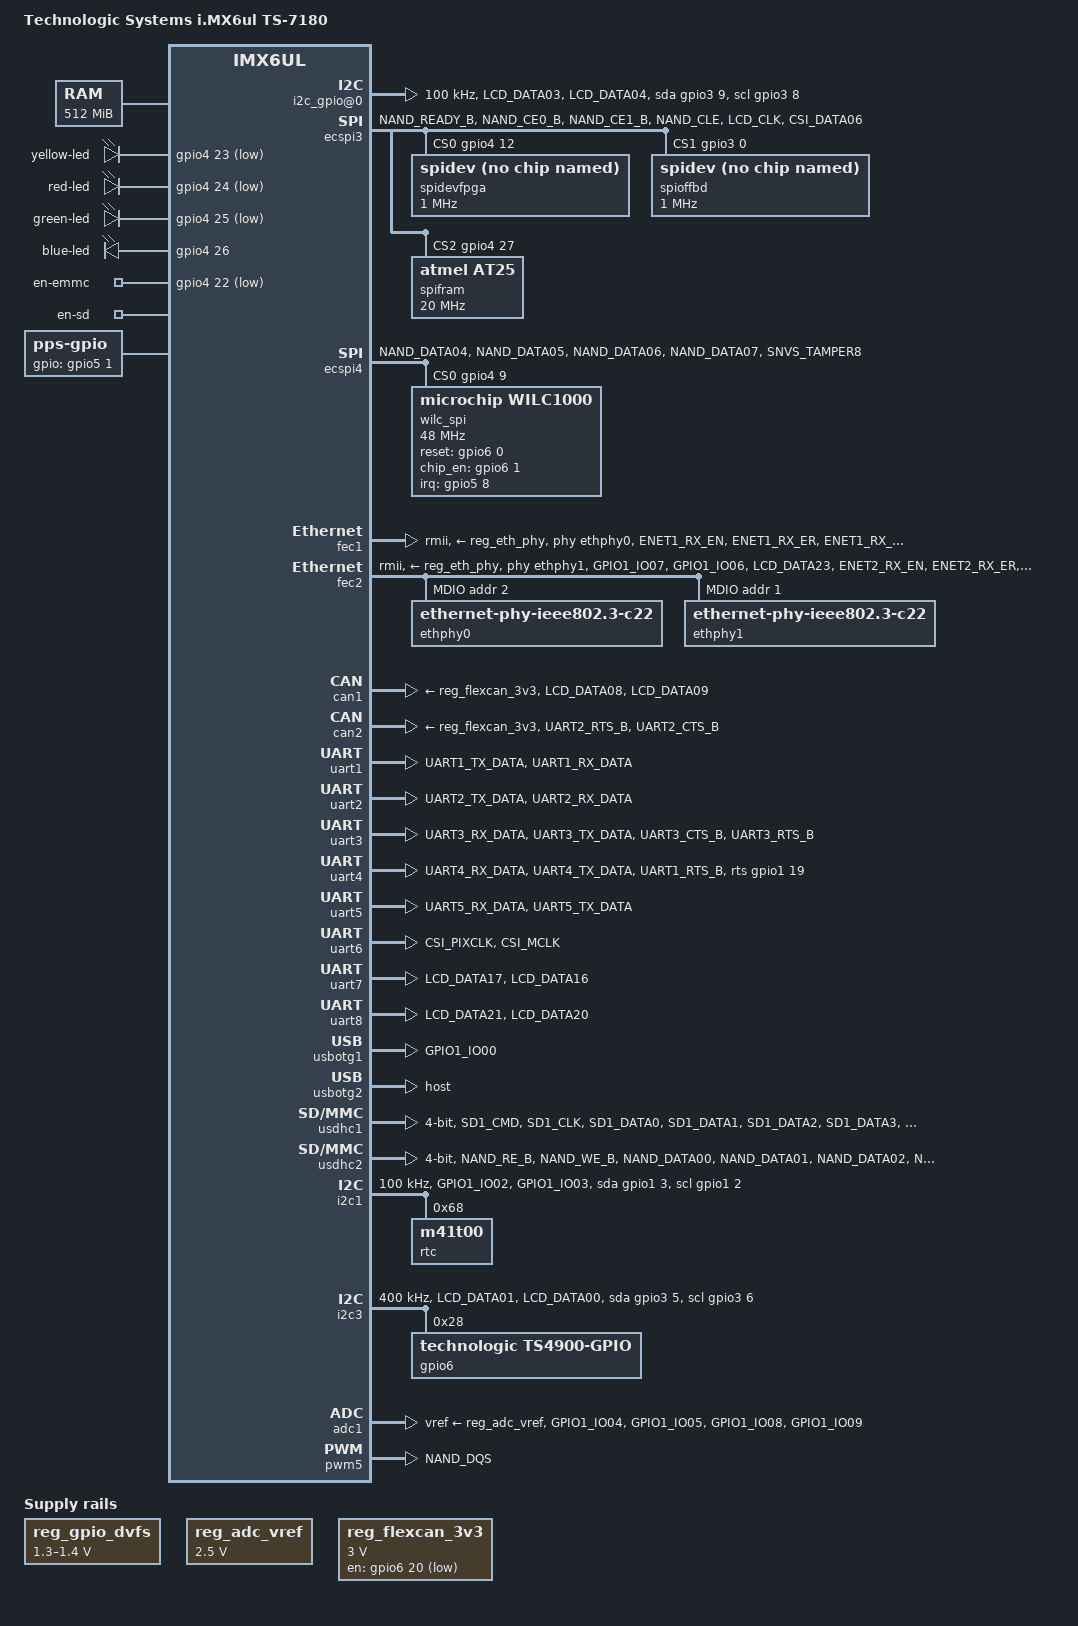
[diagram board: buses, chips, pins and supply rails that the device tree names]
/*
 * Copyright (C) 2021 Technologic Systems
 *
 * This program is free software; you can redistribute it and/or modify
 * it under the terms of the GNU General Public License version 2 as
 * published by the Free Software Foundation.
 *
 */

/dts-v1/;
#include <dt-bindings/input/input.h>
#include "imx6ul.dtsi"

/ {
	model = "Technologic Systems i.MX6ul TS-7180";
	compatible = "technologic,ts7180", "fsl,imx6ul";

	chosen {
		stdout-path = &uart1;
	};

	memory {
		reg = <0x80000000 0x20000000>;
	};

	leds {
		pinctrl-names = "default";
		compatible = "gpio-leds";

		yellow-led {
			label = "yellow-led";
			gpios = <&gpio4 23 GPIO_ACTIVE_LOW>;
			default-state = "off";
		};

		red-led {
			label = "red-led";
			gpios = <&gpio4 24 GPIO_ACTIVE_LOW>;
			default-state = "off";
		};

		green-led {
			label = "green-led";
			gpios = <&gpio4 25 GPIO_ACTIVE_LOW>;
			default-state = "on";
		};

		blue-led {
			label = "blue-led";
			gpios = <&gpio4 26 GPIO_ACTIVE_HIGH>;
			default-state = "off";
		};

		/* The following are meant to be userspace controlled IO. The
		 * kernel does not allow setting default state of GPIO, but
		 * the default state of LEDs can be set, which is why the LED
		 * subsystem is used.
		 * Additionally, Linux regulators often cannot be manually
		 * controlled, making LED the ideal way to control certain pins
		 */
		 en-emmc {
			label = "en-emmc";
			gpios = <&gpio4 22 GPIO_ACTIVE_LOW>;
			default-state = "on";
		};

		 en-sd {
			label = "en-sd";
			gpio = <&gpio6 14 GPIO_ACTIVE_HIGH>;
			default-state = "on";
		};
	};

	reserved-memory {
		#address-cells = <1>;
		#size-cells = <1>;
		ranges;

		linux,cma {
			compatible = "shared-dma-pool";
			reusable;
			size = <0x14000000>;
			linux,cma-default;
		};
	};

	aliases {
		ethernet0 = &fec2;
		ethernet1 = &fec1;
	};

	pxp_v4l2 {
		compatible = "fsl,imx6ul-pxp-v4l2", "fsl,imx6sx-pxp-v4l2", "fsl,imx6sl-pxp-v4l2";
		status = "disabled";
	};

	regulators {
		compatible = "simple-bus";
		#address-cells = <1>;
		#size-cells = <0>;

		reg_gpio_dvfs: regulator-gpio {
			compatible = "regulator-gpio";
			pinctrl-names = "default";
			pinctrl-0 = <&pinctrl_dvfs>;
			regulator-min-microvolt = <1300000>;
			regulator-max-microvolt = <1400000>;
			regulator-name = "gpio_dvfs";
			regulator-type = "voltage";
			gpios = <&gpio5 3 GPIO_ACTIVE_HIGH>;
			states = <1300000 0x1 1400000 0x0>;
		};

		reg_adc_vref: adc_vref {
			compatible = "regulator-fixed";
			regulator-name = "ADC_VREF";
			regulator-min-microvolt = <2500000>;
			regulator-max-microvolt = <2500000>;
			//gpio = EN_2.5_VREF driven by Silabs;
			//enable-active-high;
		};

		reg_flexcan_3v3: en-can@0 {
			compatible = "regulator-fixed";
			regulator-name = "en-can";
			regulator-min-microvolt = <3000000>;
			regulator-max-microvolt = <3000000>;
			gpio = <&gpio6 20 GPIO_ACTIVE_HIGH>;
		};

		reg_eth_phy: eth_phy {
			compatible = "regulator-dummy";
			regulator-name = "eth_phy_dummy";
		};
	};

        i2c_gpio@0 {
	        compatible = "i2c-gpio";
	        clock-frequency = <100000>;
	        pinctrl-names = "default";
	        pinctrl-0 = <&pinctrl_i2c_gpio>;
		gpios = <
			&gpio3 9 GPIO_ACTIVE_HIGH /* I2C_DAT on HD12 pin 1 */
			&gpio3 8 GPIO_ACTIVE_HIGH /* I2C_CLK on HD12 pin 6 */
			>;
	        status = "okay";
		i2c-gpio,delay-us = <2>;	/* ~100 kHz */
	        #address-cells = <1>;
	        #size-cells = <0>;
        };

	pps {
		compatible = "pps-gpio";
		pinctrl-names = "default";
		pinctrl-0 = <&pinctrl_ppsgpio>;
		gpios = <&gpio5 1 GPIO_ACTIVE_HIGH>;

		status = "okay";
	};
};

&cpu0 {
	arm-supply = <&reg_arm>;
	soc-supply = <&reg_soc>;
	dc-supply = <&reg_gpio_dvfs>;
};

&ecspi3 {
	fsl,spi-num-chipselects = <3>;
	cs-gpios = <&gpio4 12 GPIO_ACTIVE_HIGH>, <&gpio3 0 GPIO_ACTIVE_HIGH>, <&gpio4 27 GPIO_ACTIVE_HIGH>;
	pinctrl-names = "default";
	pinctrl-0 = <&pinctrl_ecspi3>;
	status = "okay";

	spidevfpga: spi@0 {
		compatible = "spidev";
		reg = <0>;
		spi-max-frequency = <1000000>;
	};

	spioffbd: spi@1 {
		compatible = "spidev";
		reg = <1>;
		spi-cs-high;
		spi-max-frequency = <1000000>;
	};

	/* This is actually the FRAM, which is compatible with the AT25 SPI EEPROM */
	spifram: spi@2 {
		compatible = "atmel,at25", "cypress,fm25l16b";
		reg = <2>;
		spi-max-frequency = <20000000>;
		size = <0x800>;
		address-width = <16>;
		pagesize = <64>;
		status = "okay";
	};
};

&ecspi4 {
	fsl,spi-num-chipselects = <1>;
	cs-gpios = <&gpio4 9 0>;
	pinctrl-names = "default";
	pinctrl-0 = <&pinctrl_ecspi4>;
	status = "okay";

	wilc_spi@0 {
		compatible = "microchip,wilc1000", "microchip,wilc3000";
		reg = <0>;
		spi-max-frequency = <48000000>;
		reset-gpios = <&gpio6 0 0>;     /* RESET,  GPIO 160 */
		chip_en-gpios = <&gpio6 1 0>;   /* ENABLE, GPIO 161 */
		interrupt-parent = <&gpio5>;    /* IRQ,    GPIO 136 */
		interrupts = <8 0>;
		status = "okay";
	 };
};

&fec1 {
	pinctrl-names = "default";
	pinctrl-0 = <&pinctrl_enet1>;
	phy-mode = "rmii";
	phy-handle = <&ethphy0>;
	phy-supply = <&reg_eth_phy>;
	status = "okay";
};

&fec2 {
	pinctrl-names = "default";
	pinctrl-0 = <&pinctrl_enet2>;
	phy-mode = "rmii";
	phy-handle = <&ethphy1>;
	phy-supply = <&reg_eth_phy>;
	status = "okay";

	mdio {
		#address-cells = <1>;
		#size-cells = <0>;

		ethphy0: ethernet-phy@2 {
			clocks = <&clks IMX6UL_CLK_ENET_REF>;
			clock-names = "rmii-ref";
			compatible = "ethernet-phy-ieee802.3-c22";
			reg = <2>;
		};

		ethphy1: ethernet-phy@1 {
			clocks = <&clks IMX6UL_CLK_ENET_REF>;
			clock-names = "rmii-ref";
			compatible = "ethernet-phy-ieee802.3-c22";
			reg = <1>;
		};
	};
};

&can1 {
	pinctrl-names = "default";
	pinctrl-0 = <&pinctrl_flexcan1>;
	xceiver-supply = <&reg_flexcan_3v3>;
	status = "okay";
};

&can2 {
	pinctrl-names = "default";
	pinctrl-0 = <&pinctrl_flexcan2>;
	xceiver-supply = <&reg_flexcan_3v3>;
	status = "okay";
};

&gpc {
	fsl,cpu_pupscr_sw2iso = <0x1>;
	fsl,cpu_pupscr_sw = <0x0>;
	fsl,cpu_pdnscr_iso2sw = <0x1>;
	fsl,cpu_pdnscr_iso = <0x1>;
	fsl,ldo-bypass = <0>; /* DCDC, ldo-enable */
};

&gpio1 {
	gpio-line-names =
		"BOOT_MODE_0",
		"",
		"I2C_1_CLK",
		"I2C_1_DAT",
		"ADC_1",
		"ADC_2",
		"ETH_MDIO",
		"ETH_MDC",
		"ADC_3",
		"ADC_4",
		"",
		"",
		"",
		"",
		"",
		"",
		"CONSOLE_TXD",
		"CONSOLE_RXD",
		"SPARE_1",
		"EN_485",
		"UART2_TXD",
		"UART2_RXD",
		"CAN_2_TXD",
		"CAN2_RXD_3V",
		"UART3_TXD",
		"UART3_RXD",
		"UART3_CTS#",
		"UART3_RTS#",
		"UART4_TXD",
		"UART4_RXD",
		"UART5_TXD",
		"UART5_RXD";
};

&gpio2 {
	gpio-line-names =
		"ENET1_RX_DATA0",
		"ENET1_RX_DATA1",
		"ENET1_RX_EN",
		"ENET1_TX_DATA0",
		"ENET1_TX_DATA1",
		"ENET1_TX_EN",
		"ENET1_TX_CLK",
		"ENET1_RX_ER",
		"ENET2_RX_DATA0",
		"ENET2_RX_DATA1",
		"ENET2_RX_EN",
		"ENET2_TX_DATA0",
		"ENET2_TX_DATA1",
		"ENET2_TX_EN",
		"ENET2_TX_CLK",
		"ENET2_RX_ER",
		"SD_CMD",
		"SD_CLK",
		"SD_D0",
		"SD_D1",
		"SD_D2",
		"SD_D3",
		"",
		"",
		"",
		"",
		"",
		"",
		"",
		"",
		"",
		"";
};

&gpio3 {
	gpio-line-names =
		"HD12_SPI_CS",
		"JTAG_FPGA_TCK",
		"JTAG_FPGA_TMS",
		"JTAG_FPGA_TDI",
		"WDOG#",
		"I2C_3_DAT",
		"I2C_3_CLK",
		"",
		"HD12_I2C_CLK",
		"HD12_I2C_DAT",
		"HD12_DIG_INPUT",
		"NO_CHRG_JMP#",
		"EN_NIM_USB#",
		"CAN_1_TXD",
		"CAN1_RXD_3V",
		"XBEE_CTS#",
		"U_BOOT_JMP#",
		"",
		"PUSH_SW_CPU#",
		"NIMBEL_PWR_ON",
		"",
		"UART7_TXD",
		"UART7_RXD",
		"ID4",
		"JTAG_FPGA_TDO",
		"UART8_TXD",
		"UART8_RXD",
		"ID1",
		"ETH_PHY_RESET#",
		"",
		"",
		"";
};

&gpio4 {
	gpio-line-names =
		"EMMC_CLK",
		"EMMC_CMD",
		"EMMC_D0",
		"EMMC_D1",
		"EMMC_D2",
		"EMMC_D3",
		"SPI_4_CLK",
		"SPI_4_MOSI",
		"SPI_4_MISO",
		"SPI_4_CS#",
		"MAG_N_IRQ",
		"FPGA_RESET#",
		"SPI_3_FPGA_CS#",
		"SPI_3_CLK",
		"SPI_3_MOSI",
		"SPI_3_MISO",
		"PWM_5",
		"UART6_TXD",
		"UART6_RXD",
		"ID5",
		"GYRO_INT",
		"6UL_FORCE_5V_ON",
		"EN_EMMC_3.3V#",
		"EN_YEL_LED#",
		"EN_RED_LED#",
		"EN_GRN_LED#",
		"EN_BLU_LED",
		"FRAM_SPI_CS#",
		"SD_VSEL_1.8V",
		"",
		"",
		"";
};

&gpio5 {
	gpio-line-names =
		"POWER_FAIL",
		"GPS_PPS_OUT",
		"",
		"GPIO_DVFS",
		"",
		"SILAB_C2_CLK",
		"SILAB_C2_DATA",
		"SILAB_C2_RESET",
		"SPARE_4",
		"",
		"",
		"",
		"",
		"",
		"",
		"",
		"",
		"",
		"",
		"",
		"",
		"",
		"",
		"",
		"",
		"",
		"",
		"",
		"",
		"",
		"",
		"";
};

&uart1 {
	pinctrl-names = "default";
	pinctrl-0 = <&pinctrl_uart1>;
	status = "okay";
};

&uart2 {
	pinctrl-names = "default";
	pinctrl-0 = <&pinctrl_uart2>;
	status = "okay";
};

&uart3 {
	pinctrl-names = "default";
	pinctrl-0 = <&pinctrl_uart3>;
	status = "okay";
	uart-has-rtscts;
};

&uart4 {
	pinctrl-names = "default";
	pinctrl-0 = <&pinctrl_uart4>;
	status = "okay";
	uart-has-rtscts;
	rts-gpios = <&gpio1 19 GPIO_ACTIVE_HIGH>; /* EN_485 is the TX enable signal */
	linux,rs485-enabled-at-boot-time;
};

&uart5 {
	pinctrl-names = "default";
	pinctrl-0 = <&pinctrl_uart5>;
	status = "okay";
};


&uart6 {
	pinctrl-names = "default";
	pinctrl-0 = <&pinctrl_uart6>;
	status = "okay";
};

&uart7 {
	pinctrl-names = "default";
	pinctrl-0 = <&pinctrl_uart7>;
	status = "okay";
};

&uart8 {
	pinctrl-names = "default";
	pinctrl-0 = <&pinctrl_uart8>;
	status = "okay";
};

&usbotg1 {
	pinctrl-names = "default";
	pinctrl-0 = <&pinctrl_usb_otg1_id>;
	srp-disable;
	hnp-disable;
	adp-disable;
	status = "okay";
};

&usbotg2 {
	dr_mode = "host";
	disable-over-current;
	status = "okay";
};

&usdhc1 {
	pinctrl-names = "default", "state_100mhz", "state_200mhz";
	pinctrl-0 = <&pinctrl_usdhc1>;
	pinctrl-1 = <&pinctrl_usdhc1_100mhz>;
	pinctrl-2 = <&pinctrl_usdhc1_200mhz>;
	max-frequency = <208000000>;
	keep-power-in-suspend;
	enable-sdio-wakeup;
	disable-wp;
	cap-sd-highspeed;
	sd-uhs-sdr12;
	sd-uhs-sdr25;
	sd-uhs-sdr50;
	sd-uhs-sdr104;
	sd-uhs-ddr50;
	broken-cd = <1>;
	bus-width = <4>;
	status = "okay";
};

&usdhc2 {
	pinctrl-names = "default";
	pinctrl-0 = <&pinctrl_usdhc2>;
	no-1-8-v;
	disable-wp;
	broken-cd = <1>;
	enable-sdio-wakeup;
	bus-width = <4>;
	status = "okay";
};

&i2c1 {
	clock-frequency = <100000>;
	pinctrl-names = "default", "gpio";
	pinctrl-0 = <&pinctrl_i2c1>;
	pinctrl-1 = <&pinctrl_i2c1_gpio>;
	status = "okay";
	scl-gpios = <&gpio1 2 GPIO_ACTIVE_HIGH>;
	sda-gpios = <&gpio1 3 GPIO_ACTIVE_HIGH>;

	rtc: m41t00s@68 {
		compatible = "m41t00";
		reg = <0x68>;
	};
};

&i2c3 {
	clock-frequency = <400000>;
	pinctrl-names = "default", "gpio";
	pinctrl-0 = <&pinctrl_i2c3>;
	pinctrl-1 = <&pinctrl_i2c3_gpio>;
	status = "okay";
	scl-gpios = <&gpio3 6 GPIO_ACTIVE_HIGH>;
	sda-gpios = <&gpio3 5 GPIO_ACTIVE_HIGH>;

	gpio6: gpio@28 {
		compatible = "technologic,ts4900-gpio";
		reg = <0x28>;
		#gpio-cells = <2>;
		gpio-controller;
		base = <160>;
		ngpios = <64>;

		gpio-line-names =
			/* Outputs 0-31 */
			"WIFI_RESET#",
			"EN_WIFI_PWR",
			"",
			"",
			"",
			"FRAM_WP#",
			"EN_CL_1",
			"EN_CL_2",
			"EN_CL_3",
			"EN_CL_4",
			"EN_ADC1_10V",
			"EN_ADC2_10V",
			"EN_ADC3_10V",
			"EN_ADC4_10V",
			"EN_SD_POWER",
			"EN_USB_HOST_5V",
			"EN_OFF_BD_5V",
			"EN_CELL_MODEM_PWR",
			"EN_NIMBEL_3.3V",
			"EN_GPS_PWR#",
			"EN_CAN_XVR#",
			"EN_232_XVR",
			"EN_LS_OUT_1",
			"EN_LS_OUT_2",
			"EN_LS_OUT_3",
			"EN_LS_OUT_4",
			"EN_LS_OUT_5",
			"EN_LS_OUT_6",
			"EN_LS_OUT_7",
			"",
			"",
			"",
			/* Inputs 32-63 */
			"DIG_IN_1",
			"DIG_IN_2",
			"DIG_IN_3",
			"DIG_IN_4",
			"SD_BOOT_JMP#",
			"DIO_1_IN",
			"DIO_2_IN",
			"DIO_3_IN",
			"DIO_4_IN",
			"DIO_5_IN",
			"DIO_6_IN",
			"DIO_7_IN",
			"",
			"",
			"",
			"N7",
			"P7",
			"",
			"",
			"",
			"",
			"",
			"",
			"",
			"",
			"",
			"",
			"",
			"",
			"",
			"",
			"";
	};
};

&snvs_poweroff {
	status = "okay";
};

&snvs_rtc {
	status = "disabled";
};

&wdog1 {
	pinctrl-names = "default";
	pinctrl-0 = <&pinctrl_wdog>;
	fsl,wdog_b;
};

&adc1 {
	pinctrl-names = "default";
	pinctrl-0 = <&pinctrl_adc>;
	vref-supply = <&reg_adc_vref>;
	num-channels = <10>;
	status = "okay";
};


&pwm5 {
	pinctrl-names = "default";
	pinctrl-0 = <&pinctrl_pwm5>;
	status = "okay";
};


&iomuxc {
	pinctrl-names = "default";
	pinctrl-0 = <&pinctrl_hog>;
	imx6ul-ts7180 {
		pinctrl_hog: hoggrp {
			fsl,pins = <
				MX6UL_PAD_UART1_CTS_B__GPIO1_IO18 	0x1b020 /* SPARE_1 */
				MX6UL_PAD_SNVS_TAMPER0__GPIO5_IO00	0x10020 /* POWER_FAIL */
				MX6UL_PAD_SNVS_TAMPER5__GPIO5_IO05	0x10020 /* SILAB_C2_CLK */
				MX6UL_PAD_SNVS_TAMPER6__GPIO5_IO06	0x10020 /* SILAB_C2_DAT */
				MX6UL_PAD_SNVS_TAMPER7__GPIO5_IO07	0x10020 /* SILAB_C2_RESET */
				MX6UL_PAD_SNVS_TAMPER2__GPIO5_IO02	0x1b020 /* EN_FPGA_PWR on REV C and below */
				MX6UL_PAD_LCD_DATA05__GPIO3_IO10	0x10020 /* HD12_DIG_INPUT */
				MX6UL_PAD_LCD_DATA06__GPIO3_IO11	0x10020 /* NO_CHRG_JMP# */
				MX6UL_PAD_LCD_DATA07__GPIO3_IO12	0x10020 /* EN_NIM_USB# */
				MX6UL_PAD_LCD_DATA11__GPIO3_IO16	0x10020 /* U_BOOT_JMP# */
				MX6UL_PAD_LCD_DATA13__GPIO3_IO18	0x10020 /* PUSH_SW_CPU# */
				MX6UL_PAD_LCD_DATA14__GPIO3_IO19	0x1b020 /* NIMBEL_PWR_ON */
				MX6UL_PAD_LCD_DATA18__GPIO3_IO23	0x1b020 /* ID4 */
				MX6UL_PAD_LCD_DATA22__GPIO3_IO27	0x1b020 /* ID1 */
				MX6UL_PAD_NAND_WP_B__GPIO4_IO11		0x1b020 /* FPGA_RESET# */
				MX6UL_PAD_LCD_DATA19__GPIO3_IO24	0x1b020 /* JTAG_FPGA_TDO */
				MX6UL_PAD_LCD_VSYNC__GPIO3_IO03		0x1b020 /* JTAG_FPGA_TDI */
				MX6UL_PAD_LCD_HSYNC__GPIO3_IO02		0x1b020 /* JTAG_FPGA_TMS */
				MX6UL_PAD_LCD_ENABLE__GPIO3_IO01	0x1b020 /* JTAG_FPGA_TCK */
				MX6UL_PAD_CSI_DATA00__GPIO4_IO21	0x10020 /* 6UL_FORCE_5V_ON */
				MX6UL_PAD_CSI_DATA02__GPIO4_IO23	0x1b020 /* EN_YEL_LED# */
				MX6UL_PAD_CSI_DATA03__GPIO4_IO24	0x1b020 /* EN_RED_LED# */
				MX6UL_PAD_CSI_DATA04__GPIO4_IO25	0x1b020 /* EN_GREEN_LED# */
				MX6UL_PAD_CSI_DATA05__GPIO4_IO26	0x1b020 /* EN_BLUE_LED */
				MX6UL_PAD_LCD_DATA06__GPIO3_IO11	0x1b020 /* NO_CHRG_JMP# */
				MX6UL_PAD_CSI_VSYNC__GPIO4_IO19		0x1b020 /* ID5 */
				MX6UL_PAD_CSI_HSYNC__GPIO4_IO20		0x03020 /* GYRO_INT */
			>;
		};

		pinctrl_ppsgpio: ppsgpio {
			fsl,pins = <
				MX6UL_PAD_SNVS_TAMPER1__GPIO5_IO01	0x1a020
			>;
		};

		pinctrl_pwm5: ts7180pwm5 {
			fsl,pins = <
				MX6UL_PAD_NAND_DQS__PWM5_OUT         0x13020 /* SPARE_3 */
			>;
		};

		pinctrl_usb_otg1_id: usbotg1idgrp {
			fsl,pins = <
				MX6UL_PAD_GPIO1_IO00__ANATOP_OTG1_ID	0x17059
			>;
		};

		/*
		pinctrl_usb_otg1: usbotg1grp {
			fsl,pins = <
				MX6UL_PAD_GPIO1_IO04__GPIO1_IO04        0x10b0
			>;
		};
	  */

		pinctrl_flexcan1: flexcan1grp{
			fsl,pins = <
				MX6UL_PAD_LCD_DATA08__FLEXCAN1_TX	0x1b020
				MX6UL_PAD_LCD_DATA09__FLEXCAN1_RX	0x1b020
			>;
		};

		pinctrl_flexcan2: flexcan2grp{
			fsl,pins = <
				MX6UL_PAD_UART2_RTS_B__FLEXCAN2_RX	0x1b020
				MX6UL_PAD_UART2_CTS_B__FLEXCAN2_TX	0x1b020
			>;
		};

		pinctrl_uart1: uart1grp {
			fsl,pins = <
				MX6UL_PAD_UART1_TX_DATA__UART1_DCE_TX 0x1b0b1
				MX6UL_PAD_UART1_RX_DATA__UART1_DCE_RX 0x1b0b1
			>;
		};

		pinctrl_uart2: uart2grp {
			fsl,pins = <
				MX6UL_PAD_UART2_TX_DATA__UART2_DCE_TX	0x1b0b1
				MX6UL_PAD_UART2_RX_DATA__UART2_DCE_RX	0x1b0b1
			>;
		};

		pinctrl_uart3: uart3grp {
			fsl,pins = <
				MX6UL_PAD_UART3_RX_DATA__UART3_DCE_RX	0x1b0b1
				MX6UL_PAD_UART3_TX_DATA__UART3_DCE_TX	0x1b0b1
				MX6UL_PAD_UART3_CTS_B__UART3_DCE_CTS	0x1b0b1
				MX6UL_PAD_UART3_RTS_B__UART3_DCE_RTS	0x1b0b1
			>;
		};

		pinctrl_uart4: uart4grp {
			fsl,pins = <
				MX6UL_PAD_UART4_RX_DATA__UART4_DCE_RX	0x1b0b1
				MX6UL_PAD_UART4_TX_DATA__UART4_DCE_TX	0x1b0b1
				MX6UL_PAD_UART1_RTS_B__GPIO1_IO19    0x13020 /* SPARE_2 EN_485 */

			>;
		};

		pinctrl_uart5: uart5grp {
			fsl,pins = <
				MX6UL_PAD_UART5_RX_DATA__UART5_DCE_RX	0x1b0b1
				MX6UL_PAD_UART5_TX_DATA__UART5_DCE_TX	0x1b0b1
			>;
		};

		pinctrl_uart6: uart6grp {
			fsl,pins = <
				MX6UL_PAD_CSI_PIXCLK__UART6_DCE_RX	0x1b0b1
				MX6UL_PAD_CSI_MCLK__UART6_DCE_TX	0x1b0b1
			>;
		};

		pinctrl_uart7: uart7grp {
			fsl,pins = <
				MX6UL_PAD_LCD_DATA17__UART7_DCE_RX	0x1b0b1
				MX6UL_PAD_LCD_DATA16__UART7_DCE_TX	0x1b0b1
			>;
		};

		pinctrl_uart8: uart8grp {
			fsl,pins = <
				MX6UL_PAD_LCD_DATA21__UART8_DCE_RX	0x1b0b1  /* RXD_GPS */
				MX6UL_PAD_LCD_DATA20__UART8_DCE_TX	0x1b0b1	/* TXD_GPS */
			>;
		};

		pinctrl_sai2: sai2grp {
			fsl,pins = <
				MX6UL_PAD_JTAG_TDI__SAI2_TX_BCLK	0x17088
				MX6UL_PAD_JTAG_TDO__SAI2_TX_SYNC	0x17088
				MX6UL_PAD_JTAG_TRST_B__SAI2_TX_DATA	0x11088
				MX6UL_PAD_JTAG_TCK__SAI2_RX_DATA	0x11088
				MX6UL_PAD_JTAG_TMS__SAI2_MCLK		0x17088
			>;
		};

		pinctrl_enet1: enet1grp {
			fsl,pins = <
				MX6UL_PAD_ENET1_RX_EN__ENET1_RX_EN	0x1b0b0
				MX6UL_PAD_ENET1_RX_ER__ENET1_RX_ER	0x1b0b0
				MX6UL_PAD_ENET1_RX_DATA0__ENET1_RDATA00	0x1b0b0
				MX6UL_PAD_ENET1_RX_DATA1__ENET1_RDATA01	0x1b0b0
				MX6UL_PAD_ENET1_TX_EN__ENET1_TX_EN	0x1b0b0
				MX6UL_PAD_ENET1_TX_DATA0__ENET1_TDATA00	0x1b0b0
				MX6UL_PAD_ENET1_TX_DATA1__ENET1_TDATA01	0x1b0b0
				MX6UL_PAD_ENET1_TX_CLK__ENET1_REF_CLK1	0x4001b031
			>;
		};

		pinctrl_enet2: enet2grp {
			fsl,pins = <
				MX6UL_PAD_GPIO1_IO07__ENET2_MDC		0x1b0b0
				MX6UL_PAD_GPIO1_IO06__ENET2_MDIO	0x1b0b0
				MX6UL_PAD_LCD_DATA23__GPIO3_IO28	0x1a020
				MX6UL_PAD_ENET2_RX_EN__ENET2_RX_EN	0x1b0b0
				MX6UL_PAD_ENET2_RX_ER__ENET2_RX_ER	0x1b0b0
				MX6UL_PAD_ENET2_RX_DATA0__ENET2_RDATA00	0x1b0b0
				MX6UL_PAD_ENET2_RX_DATA1__ENET2_RDATA01	0x1b0b0
				MX6UL_PAD_ENET2_TX_EN__ENET2_TX_EN	0x1b0b0
				MX6UL_PAD_ENET2_TX_DATA0__ENET2_TDATA00	0x1b0b0
				MX6UL_PAD_ENET2_TX_DATA1__ENET2_TDATA01	0x1b0b0
				MX6UL_PAD_ENET2_TX_CLK__ENET2_REF_CLK2	0x4001b031
			>;
		};

		pinctrl_wdog: wdoggrp {
			fsl,pins = <
				MX6UL_PAD_LCD_RESET__WDOG1_WDOG_ANY    0x30b0
			>;
		};

		pinctrl_i2c1: i2c1grp {
			fsl,pins = <
				MX6UL_PAD_GPIO1_IO02__I2C1_SCL 0x4001b8b0
				MX6UL_PAD_GPIO1_IO03__I2C1_SDA 0x4001b8b0
			>;
		};

		pinctrl_i2c1_gpio: i2c1grpgpio {
			fsl,pins = <
				MX6UL_PAD_GPIO1_IO02__GPIO1_IO02 0x4001b8b0
				MX6UL_PAD_GPIO1_IO03__GPIO1_IO03 0x4001b8b0
			>;
		};

		pinctrl_i2c3: i2c3grp {
			fsl,pins = <
				MX6UL_PAD_LCD_DATA01__I2C3_SCL 0x4001b8b0
				MX6UL_PAD_LCD_DATA00__I2C3_SDA 0x4001b8b0
			>;
		};

		pinctrl_i2c3_gpio: i2c3grpgpio {
			fsl,pins = <
				MX6UL_PAD_LCD_DATA01__GPIO3_IO06 0x4001b8b0
				MX6UL_PAD_LCD_DATA00__GPIO3_IO05 0x4001b8b0
			>;
		};

		pinctrl_i2c_gpio: i2cgrpgpio {
			fsl,pins = <
				MX6UL_PAD_LCD_DATA03__GPIO3_IO08 0x000108b0	/* HD12_I2C_CLK */
				MX6UL_PAD_LCD_DATA04__GPIO3_IO09 0x000108b0	/* HD12_I2C_DAT */
			>;
		};

		pinctrl_usdhc1: usdhc1grp {
			fsl,pins = <
				MX6UL_PAD_SD1_CMD__USDHC1_CMD        0x17059
				MX6UL_PAD_SD1_CLK__USDHC1_CLK        0x10071
				MX6UL_PAD_SD1_DATA0__USDHC1_DATA0    0x17059
				MX6UL_PAD_SD1_DATA1__USDHC1_DATA1    0x17059
				MX6UL_PAD_SD1_DATA2__USDHC1_DATA2    0x17059
				MX6UL_PAD_SD1_DATA3__USDHC1_DATA3    0x17059

				MX6UL_PAD_CSI_DATA07__USDHC1_VSELECT     0x17059  /* SD1 VSELECT */
			>;
		};


		pinctrl_adc: adcgrp {
			fsl,pins = <
				MX6UL_PAD_GPIO1_IO04__GPIO1_IO04       0x1b020   /* ADC_1 */
				MX6UL_PAD_GPIO1_IO05__GPIO1_IO05       0x1b020   /* ADC_2 */
				MX6UL_PAD_GPIO1_IO08__GPIO1_IO08       0x1b020   /* ADC_3 */
				MX6UL_PAD_GPIO1_IO09__GPIO1_IO09       0x1b020   /* ADC_4 */

			>;
		};

		pinctrl_usdhc1_100mhz: usdhc1grp100mhz {
			fsl,pins = <
				MX6UL_PAD_SD1_CMD__USDHC1_CMD     0x170b9
				MX6UL_PAD_SD1_CLK__USDHC1_CLK     0x100b9
				MX6UL_PAD_SD1_DATA0__USDHC1_DATA0 0x170b9
				MX6UL_PAD_SD1_DATA1__USDHC1_DATA1 0x170b9
				MX6UL_PAD_SD1_DATA2__USDHC1_DATA2 0x170b9
				MX6UL_PAD_SD1_DATA3__USDHC1_DATA3 0x170b9
			>;
		};

		pinctrl_usdhc1_200mhz: usdhc1grp200mhz {
			fsl,pins = <
				MX6UL_PAD_SD1_CMD__USDHC1_CMD     0x170f9
				MX6UL_PAD_SD1_CLK__USDHC1_CLK     0x100f9
				MX6UL_PAD_SD1_DATA0__USDHC1_DATA0 0x170f9
				MX6UL_PAD_SD1_DATA1__USDHC1_DATA1 0x170f9
				MX6UL_PAD_SD1_DATA2__USDHC1_DATA2 0x170f9
				MX6UL_PAD_SD1_DATA3__USDHC1_DATA3 0x170f9
			>;
		};
		pinctrl_usdhc2: usdhc2grp {
			fsl,pins = <
				MX6UL_PAD_NAND_RE_B__USDHC2_CLK     0x10069
				MX6UL_PAD_NAND_WE_B__USDHC2_CMD     0x17059
				MX6UL_PAD_NAND_DATA00__USDHC2_DATA0 0x17059
				MX6UL_PAD_NAND_DATA01__USDHC2_DATA1 0x17059
				MX6UL_PAD_NAND_DATA02__USDHC2_DATA2 0x17059
				MX6UL_PAD_NAND_DATA03__USDHC2_DATA3 0x17059
				/* EN_EMMC */
				MX6UL_PAD_CSI_DATA01__GPIO4_IO22    0x1b020
			>;
		};

		pinctrl_ecspi3: ecspi3grp {
			fsl,pins = <
				MX6UL_PAD_NAND_READY_B__GPIO4_IO12  0x10b0 // SPI_3_FPGA_CS#
				MX6UL_PAD_NAND_CE0_B__ECSPI3_SCLK   0x10b0 // SPI_3_CLK
				MX6UL_PAD_NAND_CE1_B__ECSPI3_MOSI   0x10b0 // SPI_3_MOSI
				MX6UL_PAD_NAND_CLE__ECSPI3_MISO     0x10b0 // SPI_3_MISO
				MX6UL_PAD_LCD_CLK__GPIO3_IO00       0x10b0 // HD12_SPI_CS (active high)
				MX6UL_PAD_CSI_DATA06__GPIO4_IO27    0x10b0 // FRAM_SPI_CS#
			>;
		};

		pinctrl_ecspi4: ecspi4grp {
			fsl,pins = <
				MX6UL_PAD_NAND_DATA04__ECSPI4_SCLK  0x10b0
				MX6UL_PAD_NAND_DATA05__ECSPI4_MOSI  0x10b0
				MX6UL_PAD_NAND_DATA06__ECSPI4_MISO  0x10b0
				MX6UL_PAD_NAND_DATA07__GPIO4_IO09   0x10b0  // WIFI chip select
				MX6UL_PAD_SNVS_TAMPER8__GPIO5_IO08  0x1b020 // SPARE_4/WIFI_IRQ
			>;
		};

		pinctrl_dvfs: dvfsgrp {
			fsl,pins = <
				MX6UL_PAD_SNVS_TAMPER3__GPIO5_IO03	0x79
			>;
		};
	};
};
